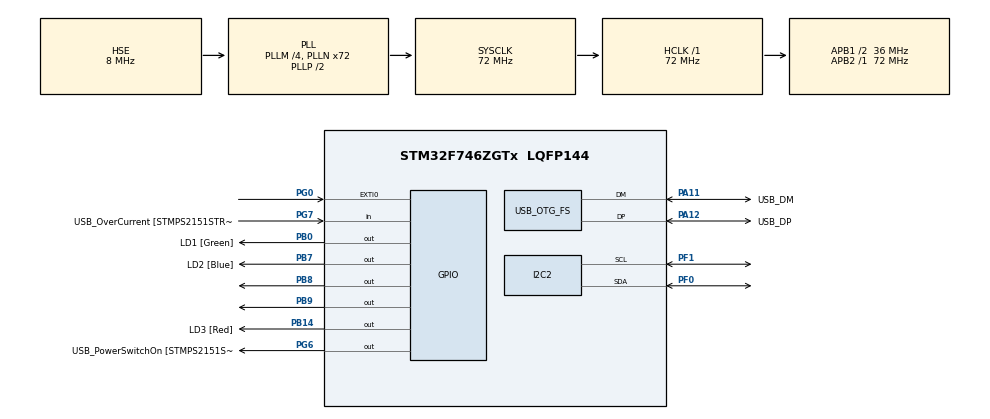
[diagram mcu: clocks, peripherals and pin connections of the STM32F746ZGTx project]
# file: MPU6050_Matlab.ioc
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I2C2.Timing=0x00808CD2
Mcu.Family=STM32F7
Mcu.Name=STM32F746ZGTx
Mcu.Package=LQFP144
NVIC.EXTI0_IRQn=true\:0\:0\:false\:false\:true\:true\:true\:true
NVIC.OTG_FS_IRQn=true\:0\:0\:false\:false\:true\:false\:true\:true
NVIC.PriorityGroup=NVIC_PRIORITYGROUP_4
PA1.GPIO_Label=RMII_REF_CLK [LAN8742A-CZ-TR_REFCLK0]
PA1.Signal=ETH_REF_CLK
PA10.GPIO_Label=USB_ID
PA10.Signal=USB_OTG_FS_ID
PA11.GPIO_Label=USB_DM
PA11.Mode=Device_Only
PA11.Signal=USB_OTG_FS_DM
PA12.GPIO_Label=USB_DP
PA12.Mode=Device_Only
PA12.Signal=USB_OTG_FS_DP
PA13.GPIO_Label=TMS
PA13.Mode=Serial_Wire
PA13.Signal=SYS_JTMS-SWDIO
PA14.GPIO_Label=TCK
PA14.Mode=Serial_Wire
PA14.Signal=SYS_JTCK-SWCLK
PA2.GPIO_Label=RMII_MDIO [LAN8742A-CZ-TR_MDIO]
PA2.Signal=ETH_MDIO
PA7.Signal=SPI1_MOSI
PA8.GPIO_Label=USB_SOF [TP1]
PA8.Signal=USB_OTG_FS_SOF
PA9.GPIO_Label=USB_VBUS
PA9.Signal=USB_OTG_FS_VBUS
PB0.GPIO_Label=LD1 [Green]
PB0.Signal=GPIO_Output
PB13.GPIO_Label=RMII_TXD1 [LAN8742A-CZ-TR_TXD1]
PB13.Signal=ETH_TXD1
PB14.GPIO_Label=LD3 [Red]
PB14.Signal=GPIO_Output
PB3.GPIO_Label=SW0
PB3.Signal=SYS_JTDO-SWO
PB7.GPIO_Label=LD2 [Blue]
PB7.Signal=GPIO_Output
PB8.Signal=GPIO_Output
PB9.Signal=GPIO_Output
PC1.GPIO_Label=RMII_MDC [LAN8742A-CZ-TR_MDC]
PC1.Signal=ETH_MDC
PC14/OSC32_IN.Mode=LSE-External-Oscillator
PC14/OSC32_IN.Signal=RCC_OSC32_IN
PC15/OSC32_OUT.Mode=LSE-External-Oscillator
PC15/OSC32_OUT.Signal=RCC_OSC32_OUT
PC4.GPIO_Label=RMII_RXD0 [LAN8742A-CZ-TR_RXD0]
PC4.Signal=ETH_RXD0
PC5.GPIO_Label=RMII_RXD1 [LAN8742A-CZ-TR_RXD1]
PC5.Signal=ETH_RXD1
PD8.GPIO_Label=STLK_RX [STM32F103CBT6_PA3]
PD8.GPIO_PuPd=GPIO_PULLUP
PD8.Signal=USART3_TX
PD9.GPIO_Label=STLK_TX [STM32F103CBT6_PA2]
PD9.GPIO_PuPd=GPIO_PULLUP
PD9.Signal=USART3_RX
PF0.Mode=I2C
PF0.Signal=I2C2_SDA
PF1.Mode=I2C
PF1.Signal=I2C2_SCL
PG0.GPIO_ModeDefaultEXTI=GPIO_MODE_IT_RISING
PG0.GPIO_PuPd=GPIO_PULLDOWN
PG0.Signal=GPXTI0
PG11.GPIO_Label=RMII_TX_EN [LAN8742A-CZ-TR_TXEN]
PG11.Signal=ETH_TX_EN
PG13.GPIO_Label=RMII_TXD0 [LAN8742A-CZ-TR_TXD0]
PG13.Signal=ETH_TXD0
PG6.GPIO_Label=USB_PowerSwitchOn [STMPS2151STR_EN]
PG6.Signal=GPIO_Output
PG7.GPIO_Label=USB_OverCurrent [STMPS2151STR_FAULT]
PG7.Signal=GPIO_Input
PH0/OSC_IN.GPIO_Label=MCO [STM32F103CBT6_PA8]
PH0/OSC_IN.Mode=HSE-External-Oscillator
PH0/OSC_IN.Signal=RCC_OSC_IN
PH1/OSC_OUT.Mode=HSE-External-Oscillator
PH1/OSC_OUT.Signal=RCC_OSC_OUT
ProjectManager.HeapSize=0x200
ProjectManager.StackSize=0x400
ProjectManager.TargetToolchain=STM32CubeIDE
RCC.48MHZClocksFreq_Value=24000000
RCC.AHBFreq_Value=72000000
RCC.APB1CLKDivider=RCC_HCLK_DIV2
RCC.APB1Freq_Value=36000000
RCC.APB1TimFreq_Value=72000000
RCC.APB2Freq_Value=72000000
RCC.APB2TimFreq_Value=72000000
RCC.CortexFreq_Value=72000000
RCC.HCLKFreq_Value=72000000
RCC.HSE_VALUE=8000000
RCC.HSI_VALUE=16000000
RCC.PLLM=4
RCC.PLLMUL=RCC_PLL_MUL9
RCC.PLLN=72
RCC.PLLQ=3
RCC.PRESCALERUSB=RCC_USBCLKSOURCE_PLL_DIV1_5
RCC.SYSCLKFreq_VALUE=72000000
RCC.SYSCLKSource=RCC_SYSCLKSOURCE_PLLCLK
RCC.SYSCLKSourceVirtual=RCC_SYSCLKSOURCE_PLLCLK
RCC.USBFreq_Value=48000000
RCC.VCOOutputFreq_Value=144000000
USB_DEVICE.CLASS_NAME_FS=CDC
USB_DEVICE.VirtualMode-CDC_FS=Cdc
USB_DEVICE.VirtualModeFS=Cdc_FS
USB_OTG_FS.VirtualMode=Device_Only
VP_USB_DEVICE_VS_USB_DEVICE_CDC_FS.Mode=CDC_FS
board=NUCLEO-F746ZG

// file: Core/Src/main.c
/* USER CODE BEGIN Header */
/**
  ******************************************************************************
  * @file           : main.c
  * @brief          : Main program body
  ******************************************************************************
  * @attention
  *
  * Copyright (c) 2023 STMicroelectronics.
  * All rights reserved.
  *
  * This software is licensed under terms that can be found in the LICENSE file
  * in the root directory of this software component.
  * If no LICENSE file comes with this software, it is provided AS-IS.
  *
  ******************************************************************************
  */
/* USER CODE END Header */
#include "main.h"
#include "usb_device.h"

/* USER CODE BEGIN Includes */
#include "ili9163.h"
#include "string.h"

/* USER CODE END Includes */

/* USER CODE BEGIN PD */
#define MPU6050_I2C_ADDRESS     0x68 << 1  // Default I2C address of MPU-6050 (<< 1 for STM32 HAL which needs the 7-bit address shifted to the left)
#define MPU6050_INT_ENABLE_REG  0x38  // Address of the Interrupt Enable Register
#define GYRO_XOUT_H 0x43

/* USER CODE END PD */

I2C_HandleTypeDef hi2c2;

/* USER CODE BEGIN PV */
uint8_t dataReady = 0;

int16_t gyroX = 0;
	      int16_t gyroY = 0;
	      int16_t gyroZ = 0;
/* USER CODE END PV */

void SystemClock_Config(void);
static void MX_GPIO_Init(void);
static void MX_I2C2_Init(void);

int main(void)
{

  /* MCU Configuration--------------------------------------------------------*/

  /* Reset of all peripherals, Initializes the Flash interface and the Systick. */
  HAL_Init();

  /* Configure the system clock */
  SystemClock_Config();

  /* Initialize all configured peripherals */
  MX_GPIO_Init();
  MX_I2C2_Init();
  MX_USB_DEVICE_Init();
  /* USER CODE BEGIN 2 */
  // Function to initialize the MPU-6050 for interrupts
  MPU6050_Init(&hi2c2);
  /* USER CODE END 2 */

  /* Infinite loop */
  while (1)
  {

    /* USER CODE BEGIN 3 */
	      readGyroData(&hi2c2, &gyroX, &gyroY, &gyroZ);

	          char str_buffer[100];  // Made the buffer bigger just in case

	          // Format gyro data into a comma-separated list
	          sprintf(str_buffer, "[%d,%d,%d]\n", gyroX, gyroY, gyroZ);

	          // Transmit the formatted string over CDC
	          CDC_Transmit_FS((uint8_t*)str_buffer, strlen(str_buffer));

		          HAL_GPIO_TogglePin(GPIOB, GPIO_PIN_14); // Toggle the GPIO pin state
		          HAL_Delay(1000); // Delay for 1000 milliseconds

  }
  /* USER CODE END 3 */
}

void SystemClock_Config(void)
{
  RCC_OscInitTypeDef RCC_OscInitStruct = {0};
  RCC_ClkInitTypeDef RCC_ClkInitStruct = {0};

  /** Configure LSE Drive Capability
  */
  HAL_PWR_EnableBkUpAccess();

  /** Configure the main internal regulator output voltage
  */
  __HAL_RCC_PWR_CLK_ENABLE();
  __HAL_PWR_VOLTAGESCALING_CONFIG(PWR_REGULATOR_VOLTAGE_SCALE3);

  /** Initializes the RCC Oscillators according to the specified parameters
  * in the RCC_OscInitTypeDef structure.
  */
  RCC_OscInitStruct.OscillatorType = RCC_OSCILLATORTYPE_HSE;
  RCC_OscInitStruct.HSEState = RCC_HSE_ON;
  RCC_OscInitStruct.PLL.PLLState = RCC_PLL_ON;
  RCC_OscInitStruct.PLL.PLLSource = RCC_PLLSOURCE_HSE;
  RCC_OscInitStruct.PLL.PLLM = 4;
  RCC_OscInitStruct.PLL.PLLN = 72;
  RCC_OscInitStruct.PLL.PLLP = RCC_PLLP_DIV2;
  RCC_OscInitStruct.PLL.PLLQ = 3;
  if (HAL_RCC_OscConfig(&RCC_OscInitStruct) != HAL_OK)
  {
    Error_Handler();
  }

  /** Initializes the CPU, AHB and APB buses clocks
  */
  RCC_ClkInitStruct.ClockType = RCC_CLOCKTYPE_HCLK|RCC_CLOCKTYPE_SYSCLK
                              |RCC_CLOCKTYPE_PCLK1|RCC_CLOCKTYPE_PCLK2;
  RCC_ClkInitStruct.SYSCLKSource = RCC_SYSCLKSOURCE_PLLCLK;
  RCC_ClkInitStruct.AHBCLKDivider = RCC_SYSCLK_DIV1;
  RCC_ClkInitStruct.APB1CLKDivider = RCC_HCLK_DIV2;
  RCC_ClkInitStruct.APB2CLKDivider = RCC_HCLK_DIV1;

  if (HAL_RCC_ClockConfig(&RCC_ClkInitStruct, FLASH_LATENCY_2) != HAL_OK)
  {
    Error_Handler();
  }
}

static void MX_I2C2_Init(void)
{

  hi2c2.Instance = I2C2;
  hi2c2.Init.Timing = 0x00808CD2;
  hi2c2.Init.OwnAddress1 = 0;
  hi2c2.Init.AddressingMode = I2C_ADDRESSINGMODE_7BIT;
  hi2c2.Init.DualAddressMode = I2C_DUALADDRESS_DISABLE;
  hi2c2.Init.OwnAddress2 = 0;
  hi2c2.Init.OwnAddress2Masks = I2C_OA2_NOMASK;
  hi2c2.Init.GeneralCallMode = I2C_GENERALCALL_DISABLE;
  hi2c2.Init.NoStretchMode = I2C_NOSTRETCH_DISABLE;
  if (HAL_I2C_Init(&hi2c2) != HAL_OK)
  {
    Error_Handler();
  }

  /** Configure Analogue filter
  */
  if (HAL_I2CEx_ConfigAnalogFilter(&hi2c2, I2C_ANALOGFILTER_ENABLE) != HAL_OK)
  {
    Error_Handler();
  }

  /** Configure Digital filter
  */
  if (HAL_I2CEx_ConfigDigitalFilter(&hi2c2, 0) != HAL_OK)
  {
    Error_Handler();
  }

}

static void MX_GPIO_Init(void)
{
  GPIO_InitTypeDef GPIO_InitStruct = {0};

  /* GPIO Ports Clock Enable */
  __HAL_RCC_GPIOC_CLK_ENABLE();
  __HAL_RCC_GPIOF_CLK_ENABLE();
  __HAL_RCC_GPIOH_CLK_ENABLE();
  __HAL_RCC_GPIOA_CLK_ENABLE();
  __HAL_RCC_GPIOB_CLK_ENABLE();
  __HAL_RCC_GPIOG_CLK_ENABLE();
  __HAL_RCC_GPIOD_CLK_ENABLE();

  /*Configure GPIO pin Output Level */
  HAL_GPIO_WritePin(GPIOB, LD1_Pin|LD3_Pin|LD2_Pin|GPIO_PIN_8
                          |GPIO_PIN_9, GPIO_PIN_RESET);

  /*Configure GPIO pin Output Level */
  HAL_GPIO_WritePin(USB_PowerSwitchOn_GPIO_Port, USB_PowerSwitchOn_Pin, GPIO_PIN_RESET);

  /*Configure GPIO pins : RMII_MDC_Pin RMII_RXD0_Pin RMII_RXD1_Pin */
  GPIO_InitStruct.Pin = RMII_MDC_Pin|RMII_RXD0_Pin|RMII_RXD1_Pin;
  GPIO_InitStruct.Mode = GPIO_MODE_AF_PP;
  GPIO_InitStruct.Pull = GPIO_NOPULL;
  GPIO_InitStruct.Speed = GPIO_SPEED_FREQ_VERY_HIGH;
  GPIO_InitStruct.Alternate = GPIO_AF11_ETH;
  HAL_GPIO_Init(GPIOC, &GPIO_InitStruct);

  /*Configure GPIO pins : RMII_REF_CLK_Pin RMII_MDIO_Pin */
  GPIO_InitStruct.Pin = RMII_REF_CLK_Pin|RMII_MDIO_Pin;
  GPIO_InitStruct.Mode = GPIO_MODE_AF_PP;
  GPIO_InitStruct.Pull = GPIO_NOPULL;
  GPIO_InitStruct.Speed = GPIO_SPEED_FREQ_VERY_HIGH;
  GPIO_InitStruct.Alternate = GPIO_AF11_ETH;
  HAL_GPIO_Init(GPIOA, &GPIO_InitStruct);

  /*Configure GPIO pin : PA7 */
  GPIO_InitStruct.Pin = GPIO_PIN_7;
  GPIO_InitStruct.Mode = GPIO_MODE_AF_PP;
  GPIO_InitStruct.Pull = GPIO_NOPULL;
  GPIO_InitStruct.Speed = GPIO_SPEED_FREQ_VERY_HIGH;
  GPIO_InitStruct.Alternate = GPIO_AF5_SPI1;
  HAL_GPIO_Init(GPIOA, &GPIO_InitStruct);

  /*Configure GPIO pins : LD1_Pin LD3_Pin LD2_Pin PB8
                           PB9 */
  GPIO_InitStruct.Pin = LD1_Pin|LD3_Pin|LD2_Pin|GPIO_PIN_8
                          |GPIO_PIN_9;
  GPIO_InitStruct.Mode = GPIO_MODE_OUTPUT_PP;
  GPIO_InitStruct.Pull = GPIO_NOPULL;
  GPIO_InitStruct.Speed = GPIO_SPEED_FREQ_LOW;
  HAL_GPIO_Init(GPIOB, &GPIO_InitStruct);

  /*Configure GPIO pin : PG0 */
  GPIO_InitStruct.Pin = GPIO_PIN_0;
  GPIO_InitStruct.Mode = GPIO_MODE_IT_RISING;
  GPIO_InitStruct.Pull = GPIO_PULLDOWN;
  HAL_GPIO_Init(GPIOG, &GPIO_InitStruct);

  /*Configure GPIO pin : RMII_TXD1_Pin */
  GPIO_InitStruct.Pin = RMII_TXD1_Pin;
  GPIO_InitStruct.Mode = GPIO_MODE_AF_PP;
  GPIO_InitStruct.Pull = GPIO_NOPULL;
  GPIO_InitStruct.Speed = GPIO_SPEED_FREQ_VERY_HIGH;
  GPIO_InitStruct.Alternate = GPIO_AF11_ETH;
  HAL_GPIO_Init(RMII_TXD1_GPIO_Port, &GPIO_InitStruct);

  /*Configure GPIO pins : STLK_RX_Pin STLK_TX_Pin */
  GPIO_InitStruct.Pin = STLK_RX_Pin|STLK_TX_Pin;
  GPIO_InitStruct.Mode = GPIO_MODE_AF_PP;
  GPIO_InitStruct.Pull = GPIO_PULLUP;
  GPIO_InitStruct.Speed = GPIO_SPEED_FREQ_VERY_HIGH;
  GPIO_InitStruct.Alternate = GPIO_AF7_USART3;
  HAL_GPIO_Init(GPIOD, &GPIO_InitStruct);

  /*Configure GPIO pin : USB_PowerSwitchOn_Pin */
  GPIO_InitStruct.Pin = USB_PowerSwitchOn_Pin;
  GPIO_InitStruct.Mode = GPIO_MODE_OUTPUT_PP;
  GPIO_InitStruct.Pull = GPIO_NOPULL;
  GPIO_InitStruct.Speed = GPIO_SPEED_FREQ_LOW;
  HAL_GPIO_Init(USB_PowerSwitchOn_GPIO_Port, &GPIO_InitStruct);

  /*Configure GPIO pin : USB_OverCurrent_Pin */
  GPIO_InitStruct.Pin = USB_OverCurrent_Pin;
  GPIO_InitStruct.Mode = GPIO_MODE_INPUT;
  GPIO_InitStruct.Pull = GPIO_NOPULL;
  HAL_GPIO_Init(USB_OverCurrent_GPIO_Port, &GPIO_InitStruct);

  /*Configure GPIO pins : RMII_TX_EN_Pin RMII_TXD0_Pin */
  GPIO_InitStruct.Pin = RMII_TX_EN_Pin|RMII_TXD0_Pin;
  GPIO_InitStruct.Mode = GPIO_MODE_AF_PP;
  GPIO_InitStruct.Pull = GPIO_NOPULL;
  GPIO_InitStruct.Speed = GPIO_SPEED_FREQ_VERY_HIGH;
  GPIO_InitStruct.Alternate = GPIO_AF11_ETH;
  HAL_GPIO_Init(GPIOG, &GPIO_InitStruct);

  /* EXTI interrupt init*/
  HAL_NVIC_SetPriority(EXTI0_IRQn, 0, 0);
  HAL_NVIC_EnableIRQ(EXTI0_IRQn);

/* USER CODE BEGIN MX_GPIO_Init_2 */
//  void HAL_GPIO_EXTI_Callback(uint16_t GPIO_Pin)
//  {
//      if(GPIO_Pin == GPIO_PIN_0)
//      {
//    	  HAL_GPIO_TogglePin(GPIOB, GPIO_PIN_14); // Toggle the GPIO pin state
//    	  		  	  HAL_Delay(1000); // Delay for 1000 milliseconds
//          dataReady = 1;
//      }
//      else{
//    	  HAL_GPIO_TogglePin(GPIOB, GPIO_PIN_0); // Toggle the GPIO pin state
//    	      	  		  	  HAL_Delay(1000); // Delay for 1000 milliseconds
//      }
//  }

/* USER CODE END MX_GPIO_Init_2 */
}

void Error_Handler(void)
{
  __disable_irq();
  while (1)
  {
  }
}
